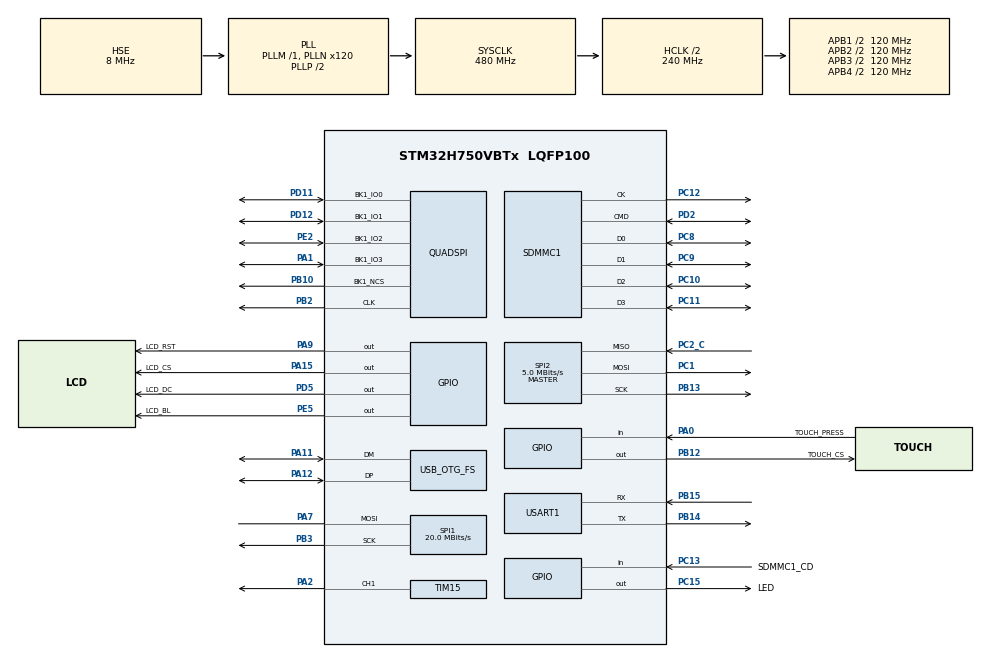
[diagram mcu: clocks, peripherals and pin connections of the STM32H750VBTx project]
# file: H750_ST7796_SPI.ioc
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Mcu.Family=STM32H7
RCC.CortexFreq_Value=480000000
SPI1.VirtualType=VM_MASTER
SPI2.VirtualType=VM_MASTER
PB10.Mode=Single Bank 1
RCC.HPRE=RCC_HCLK_DIV2
PH0-OSC_IN\ (PH0).Signal=RCC_OSC_IN
PC10.Signal=SDMMC1_D2
PC12.Signal=SDMMC1_CK
RCC.PLLFRACN=0
PA0.GPIO_Label=TOUCH_PRESS
PA11.Mode=Device_Only
RCC.PLL2FRACN=0
PA15\ (JTDI).Signal=GPIO_Output
PC13.GPIO_Label=SDMMC1_CD
PB15.Signal=USART1_RX
PB13.Signal=SPI2_SCK
RCC.SYSCLKSource=RCC_SYSCLKSOURCE_PLLCLK
ProjectManager.StackSize=0x400
RCC.SPI123CLockSelection=RCC_SPI123CLKSOURCE_PLL2
PA14\ (JTCK/SWCLK).Signal=DEBUG_JTCK-SWCLK
PA12.Signal=USB_OTG_FS_DP
TIM15.Prescaler=4800-1
SPI1.Direction=SPI_DIRECTION_1LINE
RCC.HCLKFreq_Value=240000000
PE2.Mode=Single Bank 1
SPI1.CalculateBaudRate=20.0 MBits/s
PE5.Signal=GPIO_Output
PC2_C.Signal=SPI2_MISO
SPI2.BaudRatePrescaler=SPI_BAUDRATEPRESCALER_16
PH1-OSC_OUT\ (PH1).Mode=HSE-External-Oscillator
RCC.HSE_VALUE=8000000
PB2.Signal=QUADSPI_CLK
RCC.DIVM2=1
RCC.DIVM1=1
TIM15.Period=100
PB12.GPIO_Label=TOUCH_CS
PB14.Mode=Asynchronous
SPI1.DataSize=SPI_DATASIZE_8BIT
PE5.PinState=GPIO_PIN_SET
PC9.Mode=SD_4_bits_Wide_bus
SPI2.CalculateBaudRate=5.0 MBits/s
PE2.Signal=QUADSPI_BK1_IO2
PA14\ (JTCK/SWCLK).Mode=Serial_Wire
PA0.Signal=GPIO_Input
RCC.APB3Freq_Value=120000000
Mcu.Package=LQFP100
SPI2.Mode=SPI_MODE_MASTER
RCC.D1PPRE=RCC_APB3_DIV2
RCC.SDMMC1CLockSelection=RCC_SDMMCCLKSOURCE_PLL2
PD12.Signal=QUADSPI_BK1_IO1
PD5.GPIO_Label=LCD_DC
USB_OTG_FS.VirtualMode=Device_Only
PC11.Mode=SD_4_bits_Wide_bus
RCC.APB4Freq_Value=120000000
SPI2.Direction=SPI_DIRECTION_2LINES
PB13.Mode=Full_Duplex_Master
SPI1.BaudRatePrescaler=SPI_BAUDRATEPRESCALER_4
PH0-OSC_IN\ (PH0).Mode=HSE-External-Oscillator
TIM15.Channel-PWM\ Generation1\ CH1=TIM_CHANNEL_1
RCC.DIVQ1=20
PA7.Mode=Simplex_Bidirectional_Master
PA13\ (JTMS/SWDIO).Mode=Serial_Wire
PC11.Signal=SDMMC1_D3
PA9.GPIO_Label=LCD_RST
PC13.Signal=GPIO_Input
PC8.Signal=SDMMC1_D0
PC10.Mode=SD_4_bits_Wide_bus
RCC.D2PPRE2=RCC_APB2_DIV2
RCC.D2PPRE1=RCC_APB1_DIV2
RCC.DIVP2=3
PD5.Signal=GPIO_Output
VP_RNG_VS_RNG.Mode=RNG_Activate
PH1-OSC_OUT\ (PH1).Signal=RCC_OSC_OUT
USART1.VirtualMode-Asynchronous=VM_ASYNC
PB3\ (JTDO/TRACESWO).Signal=SPI1_SCK
ProjectManager.TargetToolchain=Makefile
PC15-OSC32_OUT\ (OSC32_OUT).Signal=GPIO_Output
PA9.Signal=GPIO_Output
RCC.DIVN2=30
RCC.DIVN1=120
PC2_C.Mode=Full_Duplex_Master
RCC.USBFreq_Value=48000000
PA1.Signal=QUADSPI_BK1_IO3
PB10.Signal=QUADSPI_BK1_NCS
PB14.Signal=USART1_TX
PD2.Mode=SD_4_bits_Wide_bus
PC12.Mode=SD_4_bits_Wide_bus
board=custom
SH.S_TIM15_CH1.0=TIM15_CH1,PWM Generation1 CH1
PB15.Mode=Asynchronous
RCC.APB2Freq_Value=120000000
PA1.Mode=Single Bank 1
SPI1.Mode=SPI_MODE_MASTER
RCC.ADCFreq_Value=80000000
PA15\ (JTDI).GPIO_Label=LCD_CS
Mcu.Name=STM32H750VBTx
PA2.Signal=S_TIM15_CH1
PC8.Mode=SD_4_bits_Wide_bus
RCC.SYSCLKFreq_VALUE=480000000
PD12.Mode=Single Bank 1
PA12.Mode=Device_Only
PC15-OSC32_OUT\ (OSC32_OUT).GPIO_Label=LED
PD11.Signal=QUADSPI_BK1_IO0
PB2.Mode=Single Bank 1
PE5.GPIO_Label=LCD_BL
RCC.QSPICLockSelection=RCC_QSPICLKSOURCE_PLL2
PA11.Signal=USB_OTG_FS_DM
VP_TIM15_VS_ClockSourceINT.Mode=Internal
ProjectManager.HeapSize=0x200
PD11.Mode=Single Bank 1
NVIC.PriorityGroup=NVIC_PRIORITYGROUP_4
PB3\ (JTDO/TRACESWO).Mode=Simplex_Bidirectional_Master
RCC.D3PPRE=RCC_APB4_DIV2
SPI2.DataSize=SPI_DATASIZE_8BIT
PC9.Signal=SDMMC1_D1
PD2.Signal=SDMMC1_CMD
RCC.APB1Freq_Value=120000000
RCC.DIVR2=10
PC1.Signal=SPI2_MOSI
PB12.Signal=GPIO_Output
PA13\ (JTMS/SWDIO).Signal=DEBUG_JTMS-SWDIO
PC1.Mode=Full_Duplex_Master
PA7.Signal=SPI1_MOSI

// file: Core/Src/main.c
/* USER CODE BEGIN Header */
/**
  ******************************************************************************
  * @file           : main.c
  * @brief          : Main program body
  ******************************************************************************
  * @attention
  *
  * <h2><center>&copy; Copyright (c) 2020 STMicroelectronics.
  * All rights reserved.</center></h2>
  *
  * This software component is licensed by ST under BSD 3-Clause license,
  * the "License"; You may not use this file except in compliance with the
  * License. You may obtain a copy of the License at:
  *                        opensource.org/licenses/BSD-3-Clause
  *
  ******************************************************************************
  */
/* USER CODE END Header */
#include "main.h"
#include "quadspi.h"
#include "rng.h"
#include "sdmmc.h"
#include "spi.h"
#include "tim.h"
#include "usart.h"
#include "usb_otg.h"
#include "gpio.h"

/* USER CODE BEGIN Includes */
#include "Hangle.h"
#include "English.h"
#include "STM32_ST7796_SPI.h"
#include "TouchPanel.h"

/* USER CODE END Includes */

void SystemClock_Config(void);

/* USER CODE BEGIN 0 */
void HAL_SYSTICK_Callback(void)
{
	static int cnt = -1000;

	cnt++;
	if(cnt > 500)
	{
		cnt = 0;

		HAL_GPIO_TogglePin(LED_GPIO_Port, LED_Pin);	// 보드의 LED를 깜빡여 살아있음을 알리자.
	}
}

void Demo_Color(void)
{
	ST7796_Fill_Screen(RED);
  HAL_Delay(1000);
  ST7796_Fill_Screen(GREEN);
  HAL_Delay(1000);
  ST7796_Fill_Screen(BLUE);
}

void Demo_Line(void)
{
	uint16_t i, x1, y1, x2, y2, color, w, h;
	uint32_t rn;

	w = ST7796_GetWidth();
	h = ST7796_GetHeight();

	ST7796_Fill_Screen(WHITE);

	for(i = 0; i < 500; i++)
	{
		HAL_RNG_GenerateRandomNumber(&hrng, &rn);		// 하드웨어 랜덤 숫자 발생
		x1 = rn % w;
		HAL_RNG_GenerateRandomNumber(&hrng, &rn);
		x2 = rn % w;
		HAL_RNG_GenerateRandomNumber(&hrng, &rn);
		y1 = rn % h;
		HAL_RNG_GenerateRandomNumber(&hrng, &rn);
		y2 = rn % h;
		HAL_RNG_GenerateRandomNumber(&hrng, &rn);
		color = rn % 0x10000;

		ST7796_Draw_line(x1, y1, x2, y2, color);
	}
}

void Demo_Circle(void)
{
	uint16_t i, x, y, r, color, w, h;
	uint32_t rn;

	w = ST7796_GetWidth();
	h = ST7796_GetHeight();

	ST7796_Fill_Screen(WHITE);

	for(i = 0; i < 500; i++)
	{
		HAL_RNG_GenerateRandomNumber(&hrng, &rn);
		x = rn % w;
		HAL_RNG_GenerateRandomNumber(&hrng, &rn);
		y = rn % h;
		HAL_RNG_GenerateRandomNumber(&hrng, &rn);
		r = rn % 100;
		HAL_RNG_GenerateRandomNumber(&hrng, &rn);
		color = rn % 0x10000;

		ST7796_Draw_Circle(x, y, r, color);
	}
}

void Demo_Fill(void)
{
	uint16_t i, x1, y1, x2, y2, color, w, h;
	uint32_t rn;

	w = ST7796_GetWidth();
	h = ST7796_GetHeight();

	ST7796_Fill_Screen(WHITE);

	for(i = 0; i < 500; i++)
	{
		HAL_RNG_GenerateRandomNumber(&hrng, &rn);
		x1 = rn % w;
		HAL_RNG_GenerateRandomNumber(&hrng, &rn);
		x2 = rn % w;
		HAL_RNG_GenerateRandomNumber(&hrng, &rn);
		y1 = rn % h;
		HAL_RNG_GenerateRandomNumber(&hrng, &rn);
		y2 = rn % h;
		HAL_RNG_GenerateRandomNumber(&hrng, &rn);
		color = rn % 0x10000;

		ST7796_Draw_FillRectangle(x1, y1, x2, y2, color);
	}
}

void Demo_Text(void)
{
	ST7796_Fill_Screen(WHITE);
	ST7796_Draw_FillRectangle(10,  10, 145, 300, RED);
	ST7796_Draw_FillRectangle(165, 10, 145, 300, GREEN);
	ST7796_Draw_FillRectangle(320, 10, 145, 300, BLUE);

	LCD_Puts26x48(0, 0,   (uint8_t *)"Hello World.", TFT_STRING_MODE_BACKGROUND);
	LCD_Puts18x32(0, 48,  (uint8_t *)"Hello World.", TFT_STRING_MODE_BACKGROUND);
	LCD_Puts14x24(0, 80,  (uint8_t *)"Hello World.", TFT_STRING_MODE_BACKGROUND);
	LCD_Puts8x16( 0, 104, (uint8_t *)"Hello World.", TFT_STRING_MODE_BACKGROUND);

	LCD_SetTextColor(BLUE);
	LCD_SetBackgroundColor(GREEN);
	LCD_Puts14x24(0, 120,  (uint8_t *)"Blue Text.", TFT_STRING_MODE_BACKGROUND);
	LCD_Puts14x24(0, 150,  (uint8_t *)"No Background Text.", TFT_STRING_MODE_NO_BACKGROUND);

	DisplayHangle(0, 180, "한글입니다. ABCDEFG");
}

/* USER CODE END 0 */

int main(void)
{
  /* USER CODE BEGIN 1 */
	char str[100];
	Point Pos, old_Pos;

  /* USER CODE END 1 */

  /* MCU Configuration--------------------------------------------------------*/

  /* Reset of all peripherals, Initializes the Flash interface and the Systick. */
  HAL_Init();

  /* Configure the system clock */
  SystemClock_Config();

  /* Initialize all configured peripherals */
  MX_GPIO_Init();
  MX_QUADSPI_Init();
  MX_SDMMC1_SD_Init();
  MX_USART1_UART_Init();
  MX_USB_OTG_FS_PCD_Init();
  MX_SPI1_Init();
  MX_RNG_Init();
  MX_SPI2_Init();
  MX_TIM15_Init();
  /* USER CODE BEGIN 2 */
	ST7796_Init();//initial driver setup to drive ST7796
  HAL_TIM_PWM_Start(&htim15, TIM_CHANNEL_1);
  BSP_LCD_SetBackLight(100);

  Demo_Color();
  HAL_Delay(1000);
  Demo_Line();
  HAL_Delay(500);
  Demo_Circle();
  HAL_Delay(500);
  Demo_Fill();
  HAL_Delay(500);
  Demo_Text();
  HAL_Delay(3500);

  /* USER CODE END 2 */

  /* Infinite loop */
  /* USER CODE BEGIN WHILE */
  ST7796_Fill_Screen(WHITE);
  LCD_Puts14x24(0, 0, (uint8_t *)"TOUCH TEST ", TFT_STRING_MODE_BACKGROUND);

	while (1)
  {
   	if(GetTouchStatus(&Pos))
		{
			if((old_Pos.x != Pos.x) || (old_Pos.y != Pos.y))
			{
				ST7796_Draw_line(0, old_Pos.y, ST7796_GetWidth(), old_Pos.y, WHITE);
				ST7796_Draw_line(old_Pos.x, 0, old_Pos.x, ST7796_GetHeight(), WHITE);

				old_Pos = Pos;

				ST7796_Draw_line(0, Pos.y, ST7796_GetWidth(), Pos.y, BLACK);
				ST7796_Draw_line(Pos.x, 0, Pos.x, ST7796_GetHeight(), BLACK);

				sprintf(str, "X:%4d Y:%4d", Pos.x, Pos.y);
				LCD_Puts14x24(0, 0, (uint8_t *)str, TFT_STRING_MODE_BACKGROUND);
			}
		}
		HAL_Delay(50);
    /* USER CODE END WHILE */

  }
}

void SystemClock_Config(void)
{
  RCC_OscInitTypeDef RCC_OscInitStruct = {0};
  RCC_ClkInitTypeDef RCC_ClkInitStruct = {0};
  RCC_PeriphCLKInitTypeDef PeriphClkInitStruct = {0};

  /** Supply configuration update enable
  */
  HAL_PWREx_ConfigSupply(PWR_LDO_SUPPLY);
  /** Configure the main internal regulator output voltage
  */
  __HAL_PWR_VOLTAGESCALING_CONFIG(PWR_REGULATOR_VOLTAGE_SCALE0);

  while(!__HAL_PWR_GET_FLAG(PWR_FLAG_VOSRDY)) {}
  /** Macro to configure the PLL clock source
  */
  __HAL_RCC_PLL_PLLSOURCE_CONFIG(RCC_PLLSOURCE_HSE);
  /** Initializes the RCC Oscillators according to the specified parameters
  * in the RCC_OscInitTypeDef structure.
  */
  RCC_OscInitStruct.OscillatorType = RCC_OSCILLATORTYPE_HSI48|RCC_OSCILLATORTYPE_HSE;
  RCC_OscInitStruct.HSEState = RCC_HSE_ON;
  RCC_OscInitStruct.HSI48State = RCC_HSI48_ON;
  RCC_OscInitStruct.PLL.PLLState = RCC_PLL_ON;
  RCC_OscInitStruct.PLL.PLLSource = RCC_PLLSOURCE_HSE;
  RCC_OscInitStruct.PLL.PLLM = 1;
  RCC_OscInitStruct.PLL.PLLN = 120;
  RCC_OscInitStruct.PLL.PLLP = 2;
  RCC_OscInitStruct.PLL.PLLQ = 20;
  RCC_OscInitStruct.PLL.PLLR = 2;
  RCC_OscInitStruct.PLL.PLLRGE = RCC_PLL1VCIRANGE_3;
  RCC_OscInitStruct.PLL.PLLVCOSEL = RCC_PLL1VCOWIDE;
  RCC_OscInitStruct.PLL.PLLFRACN = 0;
  if (HAL_RCC_OscConfig(&RCC_OscInitStruct) != HAL_OK)
  {
    Error_Handler();
  }
  /** Initializes the CPU, AHB and APB buses clocks
  */
  RCC_ClkInitStruct.ClockType = RCC_CLOCKTYPE_HCLK|RCC_CLOCKTYPE_SYSCLK
                              |RCC_CLOCKTYPE_PCLK1|RCC_CLOCKTYPE_PCLK2
                              |RCC_CLOCKTYPE_D3PCLK1|RCC_CLOCKTYPE_D1PCLK1;
  RCC_ClkInitStruct.SYSCLKSource = RCC_SYSCLKSOURCE_PLLCLK;
  RCC_ClkInitStruct.SYSCLKDivider = RCC_SYSCLK_DIV1;
  RCC_ClkInitStruct.AHBCLKDivider = RCC_HCLK_DIV2;
  RCC_ClkInitStruct.APB3CLKDivider = RCC_APB3_DIV2;
  RCC_ClkInitStruct.APB1CLKDivider = RCC_APB1_DIV2;
  RCC_ClkInitStruct.APB2CLKDivider = RCC_APB2_DIV2;
  RCC_ClkInitStruct.APB4CLKDivider = RCC_APB4_DIV2;

  if (HAL_RCC_ClockConfig(&RCC_ClkInitStruct, FLASH_LATENCY_4) != HAL_OK)
  {
    Error_Handler();
  }
  PeriphClkInitStruct.PeriphClockSelection = RCC_PERIPHCLK_USART1|RCC_PERIPHCLK_RNG
                              |RCC_PERIPHCLK_SPI1|RCC_PERIPHCLK_SPI2
                              |RCC_PERIPHCLK_SDMMC|RCC_PERIPHCLK_USB
                              |RCC_PERIPHCLK_QSPI;
  PeriphClkInitStruct.PLL2.PLL2M = 1;
  PeriphClkInitStruct.PLL2.PLL2N = 30;
  PeriphClkInitStruct.PLL2.PLL2P = 3;
  PeriphClkInitStruct.PLL2.PLL2Q = 2;
  PeriphClkInitStruct.PLL2.PLL2R = 10;
  PeriphClkInitStruct.PLL2.PLL2RGE = RCC_PLL2VCIRANGE_3;
  PeriphClkInitStruct.PLL2.PLL2VCOSEL = RCC_PLL2VCOWIDE;
  PeriphClkInitStruct.PLL2.PLL2FRACN = 0;
  PeriphClkInitStruct.QspiClockSelection = RCC_QSPICLKSOURCE_PLL2;
  PeriphClkInitStruct.SdmmcClockSelection = RCC_SDMMCCLKSOURCE_PLL2;
  PeriphClkInitStruct.Spi123ClockSelection = RCC_SPI123CLKSOURCE_PLL2;
  PeriphClkInitStruct.Usart16ClockSelection = RCC_USART16CLKSOURCE_D2PCLK2;
  PeriphClkInitStruct.RngClockSelection = RCC_RNGCLKSOURCE_HSI48;
  PeriphClkInitStruct.UsbClockSelection = RCC_USBCLKSOURCE_PLL;
  if (HAL_RCCEx_PeriphCLKConfig(&PeriphClkInitStruct) != HAL_OK)
  {
    Error_Handler();
  }
  /** Enable USB Voltage detector
  */
  HAL_PWREx_EnableUSBVoltageDetector();
}

void Error_Handler(void)
{
}

/************************ (C) COPYRIGHT STMicroelectronics *****END OF FILE****/
